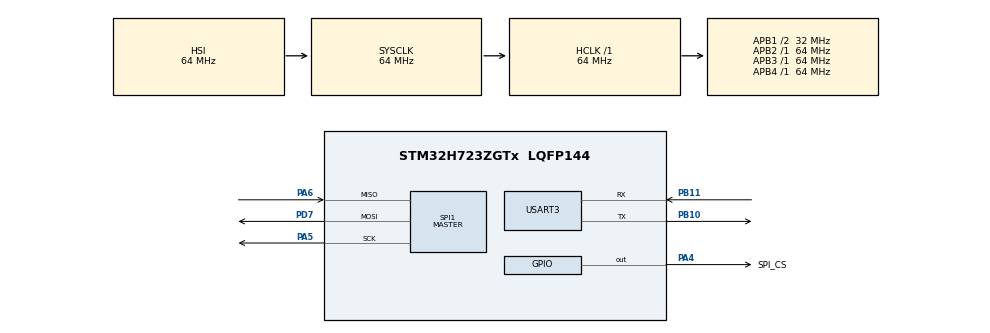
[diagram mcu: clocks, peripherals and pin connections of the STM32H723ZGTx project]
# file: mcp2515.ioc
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CORTEX_M7.default_mode_Activation=1
Mcu.Family=STM32H7
Mcu.Name=STM32H723ZGTx
Mcu.Package=LQFP144
NVIC.PriorityGroup=NVIC_PRIORITYGROUP_4
NVIC.USART3_IRQn=true\:0\:0\:false\:false\:true\:true\:true\:true
PA4.GPIO_Label=SPI_CS
PA4.Signal=GPIO_Output
PA5.Mode=Full_Duplex_Master
PA5.Signal=SPI1_SCK
PA6.Mode=Full_Duplex_Master
PA6.Signal=SPI1_MISO
PB10.Mode=Asynchronous
PB10.Signal=USART3_TX
PB11.Mode=Asynchronous
PB11.Signal=USART3_RX
PD7.Mode=Full_Duplex_Master
PD7.Signal=SPI1_MOSI
PH0-OSC_IN.Mode=HSE-External-Oscillator
PH0-OSC_IN.Signal=RCC_OSC_IN
PH1-OSC_OUT.Mode=HSE-External-Oscillator
PH1-OSC_OUT.Signal=RCC_OSC_OUT
ProjectManager.HeapSize=0x200
ProjectManager.StackSize=0x400
ProjectManager.TargetToolchain=STM32CubeIDE
RCC.ADCFreq_Value=129000000
RCC.APB1Freq_Value=32000000
RCC.APB2Freq_Value=64000000
RCC.APB3Freq_Value=64000000
RCC.APB4Freq_Value=64000000
RCC.CortexFreq_Value=64000000
RCC.D2PPRE1=RCC_APB1_DIV2
RCC.DIVM1=4
RCC.DIVN1=12
RCC.DIVQ1=3
RCC.HCLKFreq_Value=64000000
RCC.PLLFRACN=0
RCC.SYSCLKFreq_VALUE=64000000
RCC.USBFreq_Value=64000000
SPI1.Direction=SPI_DIRECTION_2LINES
SPI1.Mode=SPI_MODE_MASTER
SPI1.VirtualType=VM_MASTER
USART3.VirtualMode-Asynchronous=VM_ASYNC
VP_MEMORYMAP_VS_MEMORYMAP.Mode=CurAppReg
board=custom

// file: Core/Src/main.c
/* USER CODE BEGIN Header */
///**
//  ******************************************************************************
//  * @file           : main.c
//  * @brief          : Main program body
//  ******************************************************************************
//  * @attention
//  *
//  * Copyright (c) 2026 STMicroelectronics.
//  * All rights reserved.
//  *
//  * This software is licensed under terms that can be found in the LICENSE file
//  * in the root directory of this software component.
//  * If no LICENSE file comes with this software, it is provided AS-IS.
//  *
//  ******************************************************************************
//  */
/* USER CODE END Header */
#include "main.h"

/* USER CODE BEGIN Includes */
#include "stm32h7xx_hal.h"
#include "CAN_SPI.h"
#include <stdio.h>

//
/* USER CODE END Includes */

/* USER CODE BEGIN PTD */
//
/* USER CODE END PTD */

/* USER CODE BEGIN PD */
//
#define MCP2515_CS_LOW() \
    HAL_GPIO_WritePin(SPI_CS_GPIO_Port, SPI_CS_Pin, GPIO_PIN_RESET)

#define MCP2515_CS_HIGH() \
    HAL_GPIO_WritePin(SPI_CS_GPIO_Port, SPI_CS_Pin, GPIO_PIN_SET)
/* USER CODE END PD */

/* USER CODE BEGIN PM */
//
/* USER CODE END PM */

SPI_HandleTypeDef hspi1;

UART_HandleTypeDef huart3;

/* USER CODE BEGIN PV */
//
uCAN_MSG txMessage;

uCAN_MSG rxMessage;
/* USER CODE END PV */

void SystemClock_Config(void);
static void MPU_Config(void);
static void MX_GPIO_Init(void);
static void MX_SPI1_Init(void);
static void MX_USART3_UART_Init(void);
/* USER CODE BEGIN PFP */
//
/* USER CODE END PFP */

/* USER CODE BEGIN 0 */
//

extern SPI_HandleTypeDef hspi1;

//#define MCP_CS_LOW()  HAL_GPIO_WritePin(GPIOA, GPIO_PIN_4, GPIO_PIN_RESET)
//#define MCP_CS_HIGH() HAL_GPIO_WritePin(GPIOA, GPIO_PIN_4, GPIO_PIN_SET)

#define MCP2515_RESET       0xC0
#define MCP2515_READ        0x03
#define MCP2515_WRITE       0x02

#define MCP2515_CANCTRL     0x0F
#define MCP2515_CANSTAT     0x0E
#define MCP2515_CNF1        0x2A

static uint8_t SPI_TxRx(uint8_t data)
{
    uint8_t rx = 0;

    if (HAL_SPI_TransmitReceive(&hspi1, &data, &rx, 1, 100) != HAL_OK)
    {
        printf("SPI ERROR\r\n");
    }

    return rx;
}

static void MCP2515_Reset(void)
{
    MCP2515_CS_LOW();

    SPI_TxRx(MCP2515_RESET);

    MCP2515_CS_HIGH();

    HAL_Delay(10);
}

//static uint8_t MCP2515_Read(uint8_t address)
//{
//    uint8_t value;
//
//    MCP_CS_LOW();
//
//    SPI_TxRx(MCP2515_READ);
//    SPI_TxRx(address);
//    value = SPI_TxRx(0x00);
//
//    MCP_CS_HIGH();
//
//    return value;
//}

static uint8_t MCP2515_Read(uint8_t address)
{
    uint8_t value;

    MCP2515_CS_LOW();

    printf("CS LOW: PA4=%lu\r\n",
           (GPIOA->IDR >> 4) & 1U);

    SPI_TxRx(0x03);
    SPI_TxRx(address);
    value = SPI_TxRx(0x00);

    MCP2515_CS_HIGH();

    printf("CS HIGH: PA4=%lu\r\n",
           (GPIOA->IDR >> 4) & 1U);

    return value;
}

static void MCP2515_Write(uint8_t address, uint8_t value)
{
//    MCP_CS_LOW();
	MCP2515_CS_LOW();
    SPI_TxRx(MCP2515_WRITE);
    SPI_TxRx(address);
    SPI_TxRx(value);

//    MCP_CS_HIGH();
    MCP2515_CS_HIGH();
}

static void MCP2515_Test(void)
{
    uint8_t canstat;
    uint8_t canctrl;
    uint8_t cnf1;

    printf("\r\n============================\r\n");
    printf("MCP2515 TEST START\r\n");
    printf("============================\r\n");

    /*
     * RESET
     */
    MCP2515_Reset();

    printf("MCP2515 reset done\r\n");

    /*
     * Read CANSTAT
     */
    canstat = MCP2515_Read(MCP2515_CANSTAT);

    printf("CANSTAT = 0x%02X\r\n", canstat);

    /*
     * Read CANCTRL
     */
    canctrl = MCP2515_Read(MCP2515_CANCTRL);

    printf("CANCTRL = 0x%02X\r\n", canctrl);

    /*
     * Write CNF1
     */
    printf("Writing CNF1 = 0x55\r\n");

    MCP2515_Write(MCP2515_CNF1, 0x55);

    HAL_Delay(1);

    /*
     * Read CNF1 back
     */
    cnf1 = MCP2515_Read(MCP2515_CNF1);

    printf("CNF1 READBACK = 0x%02X\r\n", cnf1);

    if (cnf1 == 0x55)
    {
        printf("MCP2515 SPI COMMUNICATION OK\r\n");
    }
    else
    {
        printf("MCP2515 SPI COMMUNICATION FAILED\r\n");
    }

    printf("============================\r\n");
}
// uint8_t MCP2515_SPI_Transfer(uint8_t data) {
//	uint8_t rx = 0;
//
//	HAL_StatusTypeDef status;
//
//	status = HAL_SPI_TransmitReceive(&hspi1, &data, &rx, 1, 100);
//	printf("SPI TX=0x%02X RX=0x%02X STATUS=%d\r\n", data, rx, status);
//
//	if (status != HAL_OK) {
//		printf("SPI ERROR = %d\r\n", status);
//	}
//
//	return rx;
//}
//
//void MCP2515_Reset(void) {
//	MCP2515_CS_LOW();
//
//	MCP2515_SPI_Transfer(0xC0);
//
//	MCP2515_CS_HIGH();
//
//	HAL_Delay(10);
//}
//
//uint8_t MCP2515_ReadRegister(uint8_t address) {
//	uint8_t rx;
//
//	MCP2515_CS_LOW();
//
//	MCP2515_SPI_Transfer(0x03);       // READ command
//	MCP2515_SPI_Transfer(address);    // Register address
//
//	rx = MCP2515_SPI_Transfer(0x00);  // Dummy byte
//
//	MCP2515_CS_HIGH();
//
//	return rx;
//}
//
//static void GPIO_Loopback_Test(void)
//{
//    GPIO_InitTypeDef GPIO_InitStruct = {0};
//
//    /* PA7 as GPIO output */
//    GPIO_InitStruct.Pin = GPIO_PIN_7;
//    GPIO_InitStruct.Mode = GPIO_MODE_OUTPUT_PP;
//    GPIO_InitStruct.Pull = GPIO_NOPULL;
//    GPIO_InitStruct.Speed = GPIO_SPEED_FREQ_LOW;
//    HAL_GPIO_Init(GPIOA, &GPIO_InitStruct);
//
//    /* PA6 as GPIO input */
//    GPIO_InitStruct.Pin = GPIO_PIN_6;
//    GPIO_InitStruct.Mode = GPIO_MODE_INPUT;
//    GPIO_InitStruct.Pull = GPIO_NOPULL;
//    HAL_GPIO_Init(GPIOA, &GPIO_InitStruct);
//
//    /* Drive PA7 LOW */
//    HAL_GPIO_WritePin(GPIOA, GPIO_PIN_7, GPIO_PIN_RESET);
//    HAL_Delay(10);
//
//    printf("GPIO LOW: PA6=%d\r\n",
//           HAL_GPIO_ReadPin(GPIOA, GPIO_PIN_6));
//
//    /* Drive PA7 HIGH */
//    HAL_GPIO_WritePin(GPIOA, GPIO_PIN_7, GPIO_PIN_SET);
//    HAL_Delay(10);
//
//    printf("GPIO HIGH: PA6=%d\r\n",
//           HAL_GPIO_ReadPin(GPIOA, GPIO_PIN_6));
//}
//
//uint8_t MCP2515_ReadStatusRaw(void)
//{
//    uint8_t tx = 0xA0;
//    uint8_t rx = 0x00;
//
//    MCP2515_CS_LOW();
//
//    HAL_SPI_TransmitReceive(&hspi1, &tx, &rx, 1, 100);
//
//    tx = 0x00;
//
//    HAL_SPI_TransmitReceive(&hspi1, &tx, &rx, 1, 100);
//
//    MCP2515_CS_HIGH();
//
//    return rx;
//}
/* USER CODE END 0 */

int main(void)
{

  /* USER CODE BEGIN 1 */
//
  /* USER CODE END 1 */

  /* MPU Configuration--------------------------------------------------------*/
  MPU_Config();

  /* MCU Configuration--------------------------------------------------------*/

  /* Reset of all peripherals, Initializes the Flash interface and the Systick. */
  HAL_Init();

  /* USER CODE BEGIN Init */
//
  /* USER CODE END Init */

  /* Configure the system clock */
  SystemClock_Config();

  /* USER CODE BEGIN SysInit */
//
  /* USER CODE END SysInit */

  /* Initialize all configured peripherals */
  MX_GPIO_Init();
  MX_SPI1_Init();
  MX_USART3_UART_Init();
  /* USER CODE BEGIN 2 */
//
  /* USER CODE END 2 */

  /* Infinite loop */
  /* USER CODE BEGIN WHILE */
//  while (1)
//  {
    /* USER CODE END WHILE */

    /* USER CODE BEGIN 3 */
//  }
	//  HAL_GPIO_WritePin(LED_GPIO_Port, LED_Pin, GPIO_PIN_RESET);
//  int ret;
//
//  ret = CANSPI_Initialize();
//  printf("ret: %d\n\r",ret);
//  if(ret < 0){
//
//  //  	  HAL_GPIO_WritePin(LED_GPIO_Port, LED_Pin, GPIO_PIN_SET);
//
//    while(1){}
//
//  }

	/* USER CODE END 2 */

	/* Infinite loop */

	/* USER CODE BEGIN WHILE */
//
//  while (1)
//
//  {
//
////  /\* USER CODE END WHILE \*/
////
////  /\* USER CODE BEGIN 3 \*/
//
//  if(CANSPI_Receive(&rxMessage)){
//	  printf("can rx frame id %ld\n\r",rxMessage.frame.id);
//	  printf("can rx frame data0 %d\n\r",rxMessage.frame.data0);
////  	  if(rxMessage.frame.id == 0x36){
////
////  		  if(rxMessage.frame.data0 == 1){
////
////  //			  HAL_GPIO_WritePin(LED_GPIO_Port, LED_Pin, GPIO_PIN_SET);
////
////  		  }else{
////
////  			 // HAL_GPIO_WritePin(LED_GPIO_Port, LED_Pin, GPIO_PIN_RESET);
////
////  		  }
////
////  	  }
//
//  	  	HAL_Delay(100);
//
//  		txMessage.frame.idType = rxMessage.frame.idType;
//
//  		txMessage.frame.id = 0x0A;
//
//  		txMessage.frame.dlc = 8;
//
//  		txMessage.frame.data0 = 0;
//
//  		txMessage.frame.data1 = 1;
//
//  		txMessage.frame.data2 = 2;
//
//  		txMessage.frame.data3 = 3;
//
//  		txMessage.frame.data4 = 4;
//
//  		txMessage.frame.data5 = 5;
//
//  		txMessage.frame.data6 = 6;
//
//  		txMessage.frame.data7 = 7;
//
//  		CANSPI_Transmit(&txMessage);
//
//  	  }
//
////  }
//	printf("Starting MCP2515 SPI test...\r\n");
//
//	HAL_GPIO_WritePin(SPI_CS_GPIO_Port,
//	SPI_CS_Pin, GPIO_PIN_SET);
//
//	HAL_Delay(100);
//
////  MCP2515_Reset();
////
////  printf("MCP2515 reset sent\r\n");
//
////  uint8_t canstat = MCP2515_ReadRegister(0x0E);
////
////  printf("CANSTAT = 0x%02X\r\n", canstat);
//
//	MCP2515_CS_LOW();
//
//	MCP2515_SPI_Transfer(0xC0);   // RESET
//
//	MCP2515_CS_HIGH();
//
//	HAL_Delay(10);
//
//	MCP2515_CS_LOW();
//
//	MCP2515_SPI_Transfer(0x03);   // READ
//	MCP2515_SPI_Transfer(0x0E);   // CANSTAT
//
//	uint8_t canstat = MCP2515_SPI_Transfer(0x00);
//
//	MCP2515_CS_HIGH();
//
//	printf("CANSTAT = 0x%02X\r\n", canstat);
//	HAL_GPIO_WritePin(SPI_CS_GPIO_Port, SPI_CS_Pin, GPIO_PIN_RESET);
//
//	uint8_t tx = 0xA5;
//	uint8_t rx = 0;
//
//	HAL_StatusTypeDef status =
//	    HAL_SPI_TransmitReceive(&hspi1, &tx, &rx, 1, 100);
//
//	HAL_GPIO_WritePin(SPI_CS_GPIO_Port, SPI_CS_Pin, GPIO_PIN_SET);
//
//	printf("TX=0x%02X RX=0x%02X STATUS=%d\r\n",
//	       tx, rx, status);
	//GPIO_Loopback_Test();
//	uint8_t tx = 0xA5;
//	uint8_t rx = 0x00;
//
//	HAL_StatusTypeDef status =
//	    HAL_SPI_TransmitReceive(&hspi1, &tx, &rx, 1, 100);
//
//	printf("TX=0x%02X RX=0x%02X STATUS=%d\r\n",
//	       tx, rx, status);

//	while (1)
//	{
//	}

//    MCP_CS_HIGH();
  MCP2515_CS_HIGH();

//    printf("\r\nSTM32H723 + MCP2515\r\n");
//
//    MCP2515_Test();
	printf("SPI CR1  = 0x%08lX\r\n", SPI1->CR1);
	printf("SPI CFG1 = 0x%08lX\r\n", SPI1->CFG1);
	printf("SPI CFG2 = 0x%08lX\r\n", SPI1->CFG2);
	printf("SPI SR   = 0x%08lX\r\n", SPI1->SR);
	printf("PA4 IDR  = %lu\r\n",
	       (GPIOA->IDR >> 4) & 1U);
	printf("PA5 IDR  = %lu\r\n",
	       (GPIOA->IDR >> 5) & 1U);
	printf("PA6 IDR  = %lu\r\n",
	       (GPIOA->IDR >> 6) & 1U);
	printf("PA7 IDR  = %lu\r\n",
	       (GPIOA->IDR >> 7) & 1U);
	MCP2515_Test();
	uint8_t canstat = MCP2515_Read(0x0E);
	printf("CANSTAT = 0x%02X\r\n", canstat);
	while (1) {

	}
  /* USER CODE END 3 */
}

void SystemClock_Config(void)
{
  RCC_OscInitTypeDef RCC_OscInitStruct = {0};
  RCC_ClkInitTypeDef RCC_ClkInitStruct = {0};

  /** Supply configuration update enable
  */
  HAL_PWREx_ConfigSupply(PWR_LDO_SUPPLY);

  /** Configure the main internal regulator output voltage
  */
  __HAL_PWR_VOLTAGESCALING_CONFIG(PWR_REGULATOR_VOLTAGE_SCALE3);

  while(!__HAL_PWR_GET_FLAG(PWR_FLAG_VOSRDY)) {}

  /** Initializes the RCC Oscillators according to the specified parameters
  * in the RCC_OscInitTypeDef structure.
  */
  RCC_OscInitStruct.OscillatorType = RCC_OSCILLATORTYPE_HSI;
  RCC_OscInitStruct.HSIState = RCC_HSI_DIV1;
  RCC_OscInitStruct.HSICalibrationValue = 64;
  RCC_OscInitStruct.PLL.PLLState = RCC_PLL_ON;
  RCC_OscInitStruct.PLL.PLLSource = RCC_PLLSOURCE_HSI;
  RCC_OscInitStruct.PLL.PLLM = 4;
  RCC_OscInitStruct.PLL.PLLN = 12;
  RCC_OscInitStruct.PLL.PLLP = 2;
  RCC_OscInitStruct.PLL.PLLQ = 3;
  RCC_OscInitStruct.PLL.PLLR = 2;
  RCC_OscInitStruct.PLL.PLLRGE = RCC_PLL1VCIRANGE_3;
  RCC_OscInitStruct.PLL.PLLVCOSEL = RCC_PLL1VCOWIDE;
  RCC_OscInitStruct.PLL.PLLFRACN = 0;
  if (HAL_RCC_OscConfig(&RCC_OscInitStruct) != HAL_OK)
  {
    Error_Handler();
  }

  /** Initializes the CPU, AHB and APB buses clocks
  */
  RCC_ClkInitStruct.ClockType = RCC_CLOCKTYPE_HCLK|RCC_CLOCKTYPE_SYSCLK
                              |RCC_CLOCKTYPE_PCLK1|RCC_CLOCKTYPE_PCLK2
                              |RCC_CLOCKTYPE_D3PCLK1|RCC_CLOCKTYPE_D1PCLK1;
  RCC_ClkInitStruct.SYSCLKSource = RCC_SYSCLKSOURCE_HSI;
  RCC_ClkInitStruct.SYSCLKDivider = RCC_SYSCLK_DIV1;
  RCC_ClkInitStruct.AHBCLKDivider = RCC_HCLK_DIV1;
  RCC_ClkInitStruct.APB3CLKDivider = RCC_APB3_DIV1;
  RCC_ClkInitStruct.APB1CLKDivider = RCC_APB1_DIV2;
  RCC_ClkInitStruct.APB2CLKDivider = RCC_APB2_DIV1;
  RCC_ClkInitStruct.APB4CLKDivider = RCC_APB4_DIV1;

  if (HAL_RCC_ClockConfig(&RCC_ClkInitStruct, FLASH_LATENCY_1) != HAL_OK)
  {
    Error_Handler();
  }
}

static void MX_SPI1_Init(void)
{

  /* USER CODE BEGIN SPI1_Init 0 */
//
  /* USER CODE END SPI1_Init 0 */

  /* USER CODE BEGIN SPI1_Init 1 */
//
  /* USER CODE END SPI1_Init 1 */
  /* SPI1 parameter configuration*/
  hspi1.Instance = SPI1;
  hspi1.Init.Mode = SPI_MODE_MASTER;
  hspi1.Init.Direction = SPI_DIRECTION_2LINES;
  hspi1.Init.DataSize = SPI_DATASIZE_8BIT;
  hspi1.Init.CLKPolarity = SPI_POLARITY_LOW;
  hspi1.Init.CLKPhase = SPI_PHASE_1EDGE;
  hspi1.Init.NSS = SPI_NSS_SOFT;
  hspi1.Init.BaudRatePrescaler = SPI_BAUDRATEPRESCALER_32;
  hspi1.Init.FirstBit = SPI_FIRSTBIT_MSB;
  hspi1.Init.TIMode = SPI_TIMODE_DISABLE;
  hspi1.Init.CRCCalculation = SPI_CRCCALCULATION_DISABLE;
  hspi1.Init.CRCPolynomial = 0x0;
  hspi1.Init.NSSPMode = SPI_NSS_PULSE_ENABLE;
  hspi1.Init.NSSPolarity = SPI_NSS_POLARITY_LOW;
  hspi1.Init.FifoThreshold = SPI_FIFO_THRESHOLD_01DATA;
  hspi1.Init.TxCRCInitializationPattern = SPI_CRC_INITIALIZATION_ALL_ZERO_PATTERN;
  hspi1.Init.RxCRCInitializationPattern = SPI_CRC_INITIALIZATION_ALL_ZERO_PATTERN;
  hspi1.Init.MasterSSIdleness = SPI_MASTER_SS_IDLENESS_00CYCLE;
  hspi1.Init.MasterInterDataIdleness = SPI_MASTER_INTERDATA_IDLENESS_00CYCLE;
  hspi1.Init.MasterReceiverAutoSusp = SPI_MASTER_RX_AUTOSUSP_DISABLE;
  hspi1.Init.MasterKeepIOState = SPI_MASTER_KEEP_IO_STATE_DISABLE;
  hspi1.Init.IOSwap = SPI_IO_SWAP_DISABLE;
  if (HAL_SPI_Init(&hspi1) != HAL_OK)
  {
    Error_Handler();
  }
  /* USER CODE BEGIN SPI1_Init 2 */
//
  /* USER CODE END SPI1_Init 2 */

}

static void MX_USART3_UART_Init(void)
{

  /* USER CODE BEGIN USART3_Init 0 */
//
  /* USER CODE END USART3_Init 0 */

  /* USER CODE BEGIN USART3_Init 1 */
//
  /* USER CODE END USART3_Init 1 */
  huart3.Instance = USART3;
  huart3.Init.BaudRate = 115200;
  huart3.Init.WordLength = UART_WORDLENGTH_8B;
  huart3.Init.StopBits = UART_STOPBITS_1;
  huart3.Init.Parity = UART_PARITY_NONE;
  huart3.Init.Mode = UART_MODE_TX_RX;
  huart3.Init.HwFlowCtl = UART_HWCONTROL_NONE;
  huart3.Init.OverSampling = UART_OVERSAMPLING_16;
  huart3.Init.OneBitSampling = UART_ONE_BIT_SAMPLE_DISABLE;
  huart3.Init.ClockPrescaler = UART_PRESCALER_DIV1;
  huart3.AdvancedInit.AdvFeatureInit = UART_ADVFEATURE_NO_INIT;
  if (HAL_UART_Init(&huart3) != HAL_OK)
  {
    Error_Handler();
  }
  if (HAL_UARTEx_SetTxFifoThreshold(&huart3, UART_TXFIFO_THRESHOLD_1_8) != HAL_OK)
  {
    Error_Handler();
  }
  if (HAL_UARTEx_SetRxFifoThreshold(&huart3, UART_RXFIFO_THRESHOLD_1_8) != HAL_OK)
  {
    Error_Handler();
  }
  if (HAL_UARTEx_DisableFifoMode(&huart3) != HAL_OK)
  {
    Error_Handler();
  }
  /* USER CODE BEGIN USART3_Init 2 */
//
  /* USER CODE END USART3_Init 2 */

}

static void MX_GPIO_Init(void)
{
  GPIO_InitTypeDef GPIO_InitStruct = {0};
  /* USER CODE BEGIN MX_GPIO_Init_1 */
//
  /* USER CODE END MX_GPIO_Init_1 */

  /* GPIO Ports Clock Enable */
  __HAL_RCC_GPIOH_CLK_ENABLE();
  __HAL_RCC_GPIOA_CLK_ENABLE();
  __HAL_RCC_GPIOB_CLK_ENABLE();
  __HAL_RCC_GPIOD_CLK_ENABLE();

  /*Configure GPIO pin Output Level */
  HAL_GPIO_WritePin(SPI_CS_GPIO_Port, SPI_CS_Pin, GPIO_PIN_SET);

  /*Configure GPIO pin : SPI_CS_Pin */
  GPIO_InitStruct.Pin = SPI_CS_Pin;
  GPIO_InitStruct.Mode = GPIO_MODE_OUTPUT_PP;
  GPIO_InitStruct.Pull = GPIO_NOPULL;
  GPIO_InitStruct.Speed = GPIO_SPEED_FREQ_LOW;
  HAL_GPIO_Init(SPI_CS_GPIO_Port, &GPIO_InitStruct);

  /* USER CODE BEGIN MX_GPIO_Init_2 */
//
  /* USER CODE END MX_GPIO_Init_2 */
}

/* USER CODE BEGIN 4 */
//
int _write(int file, char *ptr, int len) {
	int DataIdx;
	for (DataIdx = 0; DataIdx < len; DataIdx++) {
		HAL_UART_Transmit(&huart3, (uint8_t*) ptr++, 1, 100);
	}
	return len;
}
/* USER CODE END 4 */

 /* MPU Configuration */

void MPU_Config(void)
{
  MPU_Region_InitTypeDef MPU_InitStruct = {0};

  /* Disables the MPU */
  HAL_MPU_Disable();

  /** Initializes and configures the Region and the memory to be protected
  */
  MPU_InitStruct.Enable = MPU_REGION_ENABLE;
  MPU_InitStruct.Number = MPU_REGION_NUMBER0;
  MPU_InitStruct.BaseAddress = 0x0;
  MPU_InitStruct.Size = MPU_REGION_SIZE_4GB;
  MPU_InitStruct.SubRegionDisable = 0x87;
  MPU_InitStruct.TypeExtField = MPU_TEX_LEVEL0;
  MPU_InitStruct.AccessPermission = MPU_REGION_NO_ACCESS;
  MPU_InitStruct.DisableExec = MPU_INSTRUCTION_ACCESS_DISABLE;
  MPU_InitStruct.IsShareable = MPU_ACCESS_SHAREABLE;
  MPU_InitStruct.IsCacheable = MPU_ACCESS_NOT_CACHEABLE;
  MPU_InitStruct.IsBufferable = MPU_ACCESS_NOT_BUFFERABLE;

  HAL_MPU_ConfigRegion(&MPU_InitStruct);
  /* Enables the MPU */
  HAL_MPU_Enable(MPU_PRIVILEGED_DEFAULT);

}

void Error_Handler(void)
{
  /* USER CODE BEGIN Error_Handler_Debug */
//  /* User can add his own implementation to report the HAL error return state */
//  __disable_irq();
//  while (1)
//  {
//  }
  /* USER CODE END Error_Handler_Debug */
}
#ifdef USE_FULL_ASSERT
/**
  * @brief  Reports the name of the source file and the source line number
  *         where the assert_param error has occurred.
  * @param  file: pointer to the source file name
  * @param  line: assert_param error line source number
  * @retval None
  */
void assert_failed(uint8_t *file, uint32_t line)
{
  /* USER CODE BEGIN 6 */
//  /* User can add his own implementation to report the file name and line number,
//     ex: printf("Wrong parameters value: file %s on line %d\r\n", file, line) */
  /* USER CODE END 6 */
}
#endif /* USE_FULL_ASSERT */
